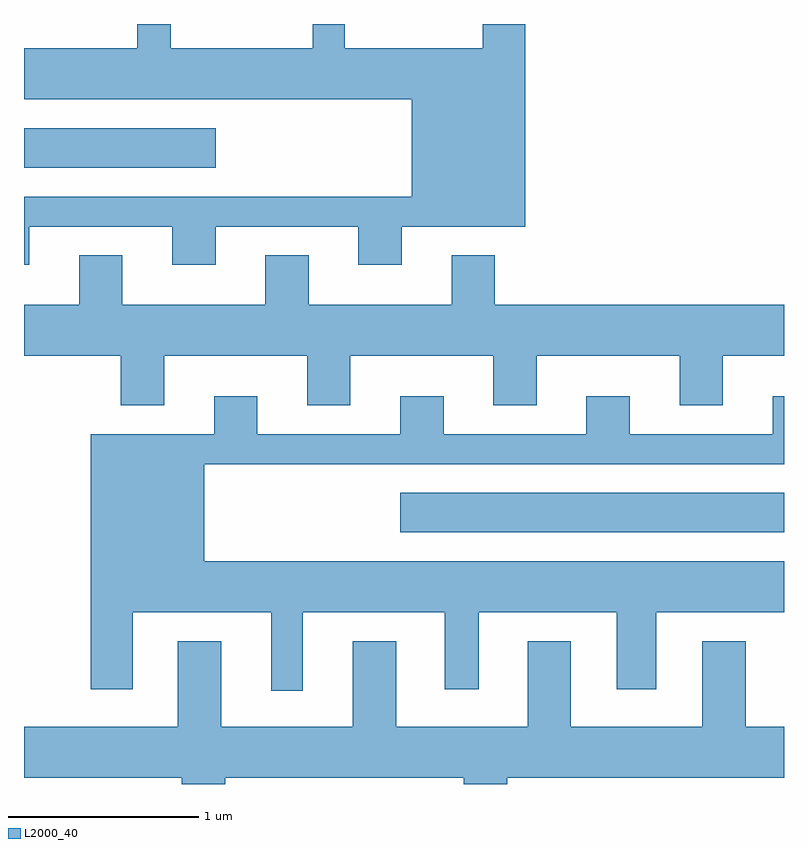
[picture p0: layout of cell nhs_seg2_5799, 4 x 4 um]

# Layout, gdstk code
import gdstk
lib = gdstk.Library(unit=1e-6, precision=1e-09)
def R(c, l, rs):  # rectangles x0, y0, x1, y1
    for r in rs: c.add(gdstk.rectangle(r[:2], r[2:], *l))
def P(c, l, *ps):  # polygons
    for p in ps: c.add(gdstk.Polygon(p, *l))
L2000_40 = (2000, 40)

nhs_seg2_5799 = lib.new_cell('nhs_seg2_5799')
R(nhs_seg2_5799, L2000_40, [(357.591,1085.126,359.611,1085.334), (355.611,1087.046,356.619,1087.254)])
P(nhs_seg2_5799, L2000_40, [(355.639,1086.736),(356.391,1086.736),(356.391,1086.536),(356.619,1086.536),(356.619,1086.736),(357.371,1086.736),(357.371,1086.536),(357.599,1086.536),(357.599,1086.736),(358.249,1086.736),(358.249,1087.802),(358.026,1087.802),(358.026,1087.674),(357.299,1087.674),(357.299,1087.802),(357.131,1087.802),(357.131,1087.674),(356.384,1087.674),(356.384,1087.802),(356.206,1087.802),(356.206,1087.674),(355.611,1087.674),(355.611,1087.406),(357.651,1087.406),(357.651,1086.894),(355.611,1086.894),(355.611,1086.536),(355.639,1086.536)],
  [(356.349,1086.056),(357.101,1086.056),(357.101,1085.796),(357.329,1085.796),(357.329,1086.056),(358.081,1086.056),(358.081,1085.796),(358.309,1085.796),(358.309,1086.056),(359.061,1086.056),(359.061,1085.796),(359.289,1085.796),(359.289,1086.056),(359.611,1086.056),(359.611,1086.324),(358.089,1086.324),(358.089,1086.584),(357.861,1086.584),(357.861,1086.324),(357.109,1086.324),(357.109,1086.584),(356.881,1086.584),(356.881,1086.324),(356.129,1086.324),(356.129,1086.584),(355.901,1086.584),(355.901,1086.324),(355.611,1086.324),(355.611,1086.056),(356.121,1086.056),(356.121,1085.796),(356.349,1085.796)],
  [(357.079,1084.706),(357.826,1084.706),(357.826,1084.301),(358.004,1084.301),(358.004,1084.706),(358.731,1084.706),(358.731,1084.301),(358.939,1084.301),(358.939,1084.706),(359.611,1084.706),(359.611,1084.974),(356.559,1084.974),(356.559,1085.486),(359.611,1085.486),(359.611,1085.844),(359.551,1085.844),(359.551,1085.644),(358.799,1085.644),(358.799,1085.844),(358.571,1085.844),(358.571,1085.644),(357.819,1085.644),(357.819,1085.844),(357.591,1085.844),(357.591,1085.644),(356.839,1085.644),(356.839,1085.844),(356.611,1085.844),(356.611,1085.644),(355.961,1085.644),(355.961,1084.301),(356.184,1084.301),(356.184,1084.706),(356.911,1084.706),(356.911,1084.293),(357.079,1084.293)],
  [(356.669,1083.836),(357.926,1083.836),(357.926,1083.802),(358.154,1083.802),(358.154,1083.836),(359.611,1083.836),(359.611,1084.104),(359.409,1084.104),(359.409,1084.554),(359.181,1084.554),(359.181,1084.104),(358.489,1084.104),(358.489,1084.554),(358.261,1084.554),(358.261,1084.104),(357.569,1084.104),(357.569,1084.554),(357.341,1084.554),(357.341,1084.104),(356.649,1084.104),(356.649,1084.554),(356.421,1084.554),(356.421,1084.104),(355.611,1084.104),(355.611,1083.836),(356.441,1083.836),(356.441,1083.802),(356.669,1083.802)])

lib.write_gds('nhs_seg2_5799.gds')
